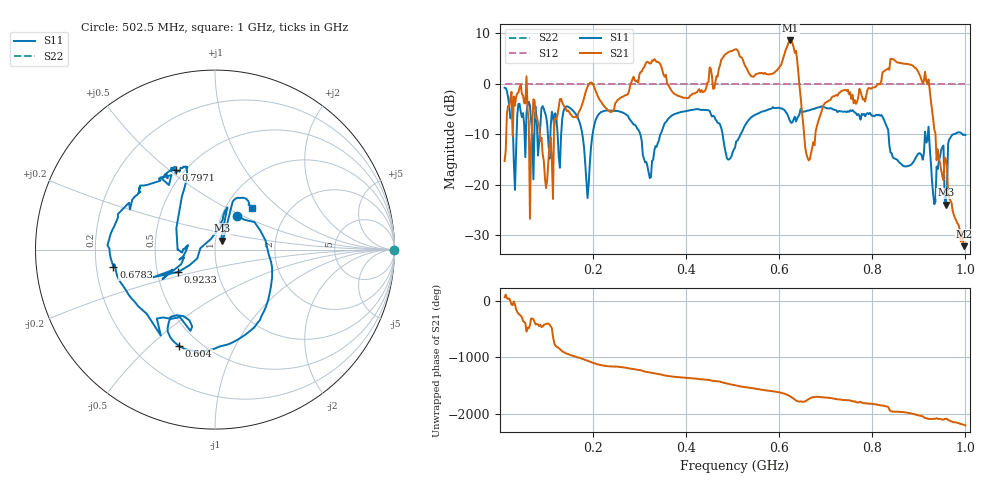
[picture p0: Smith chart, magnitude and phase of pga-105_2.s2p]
! Anritsu VNA Master:  Model: MS2024B
! SN:  2417009
! /card0/usr/pga-105_2.s2p
! Existing Calibration Information:
! TYPE:  Current Settings,  Active Cal Settings
! TIME:  09/10/2026 05:38:58 AM,  09/10/2026 05:34:42 AM
! INTERNAL TEMP:  46.3 C,  44.8 C
! # POINTS:  401,  401
! START FREQ:  10.000 MHz,  10.000 MHz
! STOP FREQ:  1.000 GHz,  1.000 GHz
! SOURCE POWER:  Default,  Default
! IFBW:  1 kHz,  1 kHz
! AVG FACTOR:  16 ,  16
! REF PLANE 1:  0 mm,  0 mm
! REF PLANE 2:  0 mm,  0 mm
! CAL TYPE:  1P2P S11,S21,  1P2P S11,S21
! CAL METHOD:  SOLT,  SOLT
! CAL LINE TYPE:  Coax,  Coax
! DUT PORT 1:  N-Conn(M),  N-Conn(M)
! DUT PORT 2:  N-Conn(M),  N-Conn(M)
! CAL STATUS:  OK: Accuracy High,  --
# GHZ S DB R 50.0
! FREQ.GHZ  S11DB  S11A  S21DB  S21A  S12DB  S12A  S22DB  S22A
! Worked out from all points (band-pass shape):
!   401 points, 10 MHz to 1 GHz, reference 50 ohm
!   highest |S21| = 8.57 dB at 623.8 MHz (marker M1); lowest = -32.1 dB at 997.5 MHz (marker M2)
!   |S21| within 3 dB of the highest: 481.8 MHz to 514.7 MHz (32.87 MHz wide, 6.6 % of centre); 610.3 MHz to 637.4 MHz (27.17 MHz wide, 4.35 % of centre)
!   lowest |S11| = -23.9 dB at 957.9 MHz (marker M3), VSWR 1.14, Z = 53.8 + j5.47 ohm
!   |S11| at or under -10 dB: 301.5 MHz to 344.7 MHz (43.16 MHz wide, 13.4 % of centre); 834.9 MHz to 913.1 MHz (78.2 MHz wide, 8.95 % of centre); 921.8 MHz to 973.4 MHz (51.66 MHz wide, 5.45 % of centre) (the widest 3 of 13)
!   |S22| runs from 0.0 to 0.0 dB; largest |S21 - S12| = 3.2
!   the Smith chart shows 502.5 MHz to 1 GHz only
!   S11 on the Smith chart (normalised r, x): 502.5 MHz: 1.18, +0.47; 604 MHz: 0.39, -0.62; 678.2 MHz: 0.27, -0.08; 797 MHz: 0.45, +0.53; 923.3 MHz: 0.64, -0.17; 1 GHz: 1.33, +0.68
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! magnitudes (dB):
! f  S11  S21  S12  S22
! 10 MHz  -0.8  -15.3  0.0  0.0
! 29.8 MHz  -15.6  -2.5  0.0  0.0
! 76.83 MHz  -4.5  -6.5  0.0  0.0
! 99.1 MHz  -6.4  -20.6  0.0  0.0
! 128.8 MHz  -16.6  -3.0  0.0  0.0
! 175.8 MHz  -9.4  -4.3  0.0  0.0
! 188.2 MHz  -22.6  -0.6  0.0  0.0
! 217.9 MHz  -5.5  -3.6  0.0  0.0
! 341.6 MHz  -11.2  4.2  0.0  0.0
! 401.1 MHz  -5.4  -2.8  0.0  0.0
! 502.5 MHz  -13.0  6.7  0.0  0.0
! 505 MHz  -12.6  6.8  0.0  0.0
! 604 MHz  -4.9  3.7  0.0  0.0
! 623.8 MHz  -7.5  8.6  0.0  0.0
! 670.8 MHz  -5.0  -12.7  0.0  0.0
! 678.2 MHz  -4.8  -9.4  0.0  0.0
! 797 MHz  -6.1  -1.0  0.0  0.0
! 836.6 MHz  -12.2  2.8  0.0  0.0
! 923.3 MHz  -12.4  -1.3  0.0  0.0
! 957.9 MHz  -23.9  -14.9  0.0  0.0
! 997.5 MHz  -10.0  -32.1  0.0  0.0
! 1 GHz  -10.1  -31.9  0.0  0.0
